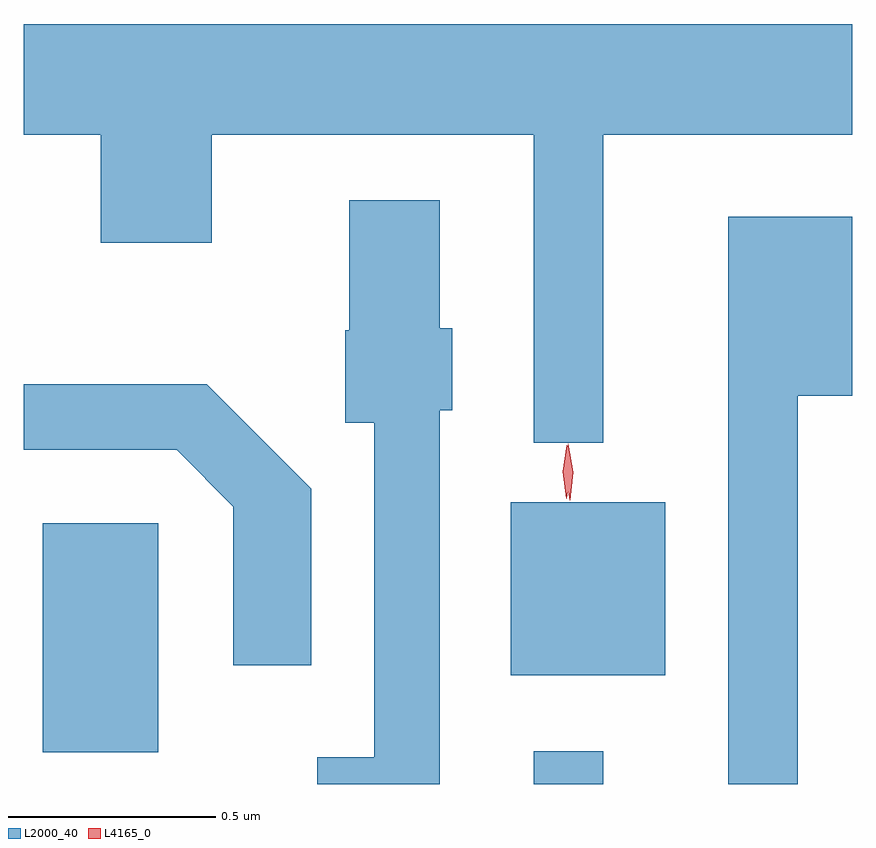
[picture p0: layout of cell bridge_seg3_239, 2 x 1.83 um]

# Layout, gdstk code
import gdstk
lib = gdstk.Library(unit=1e-6, precision=1e-09)
def R(c, l, rs):  # rectangles x0, y0, x1, y1
    for r in rs: c.add(gdstk.rectangle(r[:2], r[2:], *l))
def P(c, l, *ps):  # polygons
    for p in ps: c.add(gdstk.Polygon(p, *l))
L2000_40 = (2000, 40)
L4165_0 = (4165, 0)

bridge_seg3_239 = lib.new_cell('bridge_seg3_239')
R(bridge_seg3_239, L2000_40, [(964.601,1122.229,964.769,1122.308), (963.416,1122.306,963.694,1122.859), (964.546,1122.491,964.919,1122.909)])
P(bridge_seg3_239, L2000_40, [(964.769,1123.796),(965.37,1123.796),(965.37,1124.064),(963.37,1124.064),(963.37,1123.796),(963.556,1123.796),(963.556,1123.536),(963.824,1123.536),(963.824,1123.796),(964.601,1123.796),(964.601,1123.053),(964.769,1123.053)],
  [(964.374,1123.131),(964.404,1123.131),(964.404,1123.329),(964.374,1123.329),(964.374,1123.639),(964.156,1123.639),(964.156,1123.325),(964.146,1123.325),(964.146,1123.101),(964.216,1123.101),(964.216,1122.294),(964.078,1122.294),(964.078,1122.229),(964.374,1122.229)],
  [(965.239,1123.166),(965.37,1123.166),(965.37,1123.599),(965.071,1123.599),(965.071,1122.229),(965.239,1122.229)],
  [(964.064,1122.942),(963.812,1123.194),(963.37,1123.194),(963.37,1123.036),(963.739,1123.036),(963.876,1122.899),(963.876,1122.516),(964.064,1122.516)])
P(bridge_seg3_239, L4165_0, [(964.681,1122.918),(964.68,1122.919),(964.671,1122.983),(964.681,1123.047),(964.681,1123.047),(964.682,1123.047),(964.691,1122.983),(964.681,1122.919)],
  [(964.688,1122.914),(964.688,1122.914),(964.677,1122.982),(964.684,1123.05),(964.685,1123.05),(964.685,1123.05),(964.697,1122.982),(964.689,1122.914)])

lib.write_gds('bridge_seg3_239.gds')
